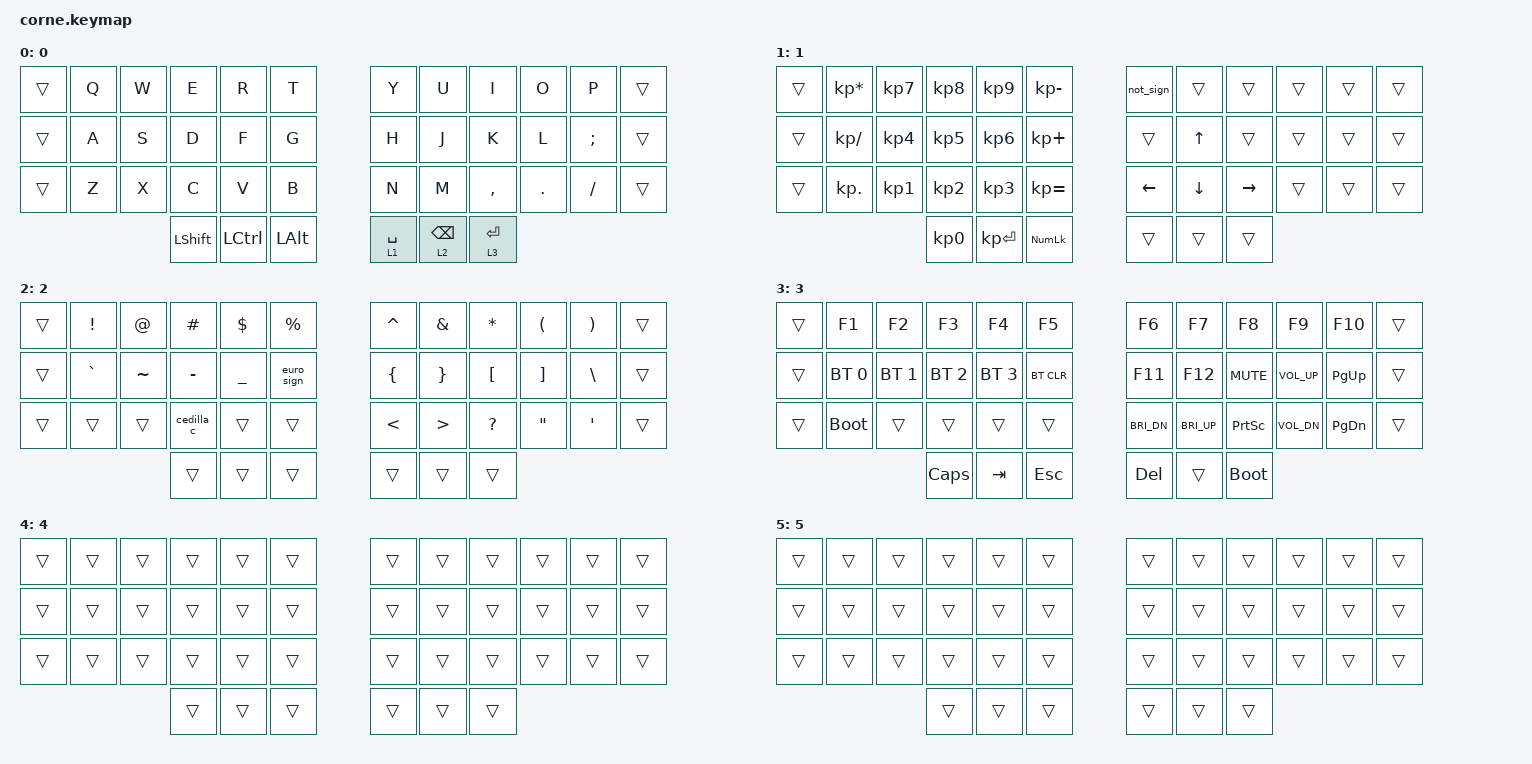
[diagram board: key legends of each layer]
/*
 * Copyright (c) 2020 The ZMK Contributors
 *
 * SPDX-License-Identifier: MIT
 */

#include <dt-bindings/led/led.h>
#include <dt-bindings/zmk/reset.h>
#include <behaviors.dtsi>
#include <dt-bindings/zmk/bt.h>
#include <dt-bindings/zmk/keys.h>

/ {
    macros {
        not_sign: not_sign {
            compatible = "zmk,behavior-macro";
            #binding-cells = <0>;
            label = "NOT_SIGN";
            bindings =
                <&macro_press>,
                <&kp RALT &kp GRAVE>,
                <&macro_release>,
                <&kp RALT &kp GRAVE>;
        };

        euro_sign: euro_sign {
            compatible = "zmk,behavior-macro";
            #binding-cells = <0>;
            label = "EURO_SIGN";
            bindings =
                <&macro_press>,
                <&kp RALT &kp N5>,
                <&macro_release>,
                <&kp RALT &kp N5>;
        };

        cedilla_c: cedilla_c {
            compatible = "zmk,behavior-macro";
            #binding-cells = <0>;
            label = "CEDILLA_C";
            bindings =
                <&macro_press>,
                <&kp RALT &kp COMMA>,
                <&macro_release>,
                <&kp RALT &kp COMMA>;
        };
    };
};

&led_strip { chain-length = <27>; };

/ {
    keymap {
        compatible = "zmk,keymap";

        zero_layer {
            display-name = "0";

            // -----------------------------------------------------------------------------------------
            // |  Q  |  W  |   E   |   R   |   T  |   |  Y  |  U   |  I  |  O  |  P  |
            // |  A  |  S  |   D   |   F   |   G  |   |  H  |  J   |  K  |  L  |  ;  |
            // |  Z  |  X  |   C   |   V   |   B  |   |  N  |  M   |  ,  |  .  |  /  |
            //             | LSHFT | LCTRL | LALT |   | SPC | BSPC | RET |

            bindings = <
&trans  &kp Q  &kp W  &kp E      &kp R      &kp T       &kp Y        &kp U       &kp I      &kp O    &kp P     &trans
&trans  &kp A  &kp S  &kp D      &kp F      &kp G       &kp H        &kp J       &kp K      &kp L    &kp SEMI  &trans
&trans  &kp Z  &kp X  &kp C      &kp V      &kp B       &kp N        &kp M       &kp COMMA  &kp DOT  &kp FSLH  &trans
                      &kp LSHFT  &kp LCTRL  &kp LALT    &lt 1 SPACE  &lt 2 BSPC  &lt 3 RET
            >;
        };

        one_layer {
            display-name = "1";

            // -----------------------------------------------------------------------------------------
            // |  *  |  7  |  8  |  9  |  -  |   |  ¬  |     |     |     |     |
            // |  /  |  4  |  5  |  6  |  +  |   |     |     |     |     |     |
            // |  .  |  1  |  2  |  3  |  =  |   |     |  ↑  |     |     |     |
            //             |  0  | ENT | NUM |   |  ←  |  ↓  |  →  |

            bindings = <
&trans  &kp KP_MULTIPLY  &kp KP_N7  &kp KP_N8  &kp KP_N9     &kp KP_SUBTRACT    &not_sign  &trans    &trans     &trans  &trans  &trans
&trans  &kp KP_DIVIDE    &kp KP_N4  &kp KP_N5  &kp KP_N6     &kp KP_PLUS        &trans     &kp UP    &trans     &trans  &trans  &trans
&trans  &kp KP_DOT       &kp KP_N1  &kp KP_N2  &kp KP_N3     &kp KP_EQUAL       &kp LEFT   &kp DOWN  &kp RIGHT  &trans  &trans  &trans
                                    &kp KP_N0  &kp KP_ENTER  &kp KP_NUM         &trans     &trans    &trans
            >;
        };

        two_layer {
            display-name = "2";

            // -----------------------------------------------------------------------------------------
            // |  !  |  @  |  #  |  $  |  %  |   |  ^  |  &  |  *  |  (  |  )  |
            // |  `  |  ~  |  -  |  _  |  €  |   |  {  |  }  |  [  |  ]  |  \  |
            // |     |     |  ç  |     |     |   |  ,  |  .  |  /  |  "  |  '  |
            //             |     |     |     |   |     |     |     |

            bindings = <
&trans  &kp EXCL   &kp AT     &kp HASH    &kp DLLR   &kp PRCNT     &kp CARET      &kp AMPS          &kp STAR      &kp LPAR           &kp RPAR  &trans
&trans  &kp GRAVE  &kp TILDE  &kp MINUS   &kp UNDER  &euro_sign    &kp LBRC       &kp RBRC          &kp LBKT      &kp RBKT           &kp BSLH  &trans
&trans  &trans     &trans     &cedilla_c  &trans     &trans        &kp LESS_THAN  &kp GREATER_THAN  &kp QUESTION  &kp DOUBLE_QUOTES  &kp SQT   &trans
                              &trans      &trans     &trans        &trans         &trans            &trans
            >;
        };

        three_layer {
            display-name = "3";
            bindings = <
&trans  &kp F1        &kp F2        &kp F3        &kp F4        &kp F5        &kp F6        &kp F7        &kp F8       &kp F9        &kp F10    &trans
&trans  &bt BT_SEL 0  &bt BT_SEL 1  &bt BT_SEL 2  &bt BT_SEL 3  &bt BT_CLR    &kp F11       &kp F12       &kp C_MUTE   &kp C_VOL_UP  &kp PG_UP  &trans
&trans  &bootloader   &trans        &trans        &trans        &trans        &kp C_BRI_DN  &kp C_BRI_UP  &kp PSCRN    &kp C_VOL_DN  &kp PG_DN  &trans
                                    &kp CAPS      &kp TAB       &kp ESC       &kp DEL       &trans        &bootloader
            >;
        };

        four_layer {
            display-name = "4";
            bindings = <
&trans  &trans  &trans  &trans  &trans  &trans    &trans  &trans  &trans  &trans  &trans  &trans
&trans  &trans  &trans  &trans  &trans  &trans    &trans  &trans  &trans  &trans  &trans  &trans
&trans  &trans  &trans  &trans  &trans  &trans    &trans  &trans  &trans  &trans  &trans  &trans
                        &trans  &trans  &trans    &trans  &trans  &trans
            >;
        };

        five_layer {
            display-name = "5";
            bindings = <
&trans  &trans  &trans  &trans  &trans  &trans    &trans  &trans  &trans  &trans  &trans  &trans
&trans  &trans  &trans  &trans  &trans  &trans    &trans  &trans  &trans  &trans  &trans  &trans
&trans  &trans  &trans  &trans  &trans  &trans    &trans  &trans  &trans  &trans  &trans  &trans
                        &trans  &trans  &trans    &trans  &trans  &trans
            >;
        };
    };
};
